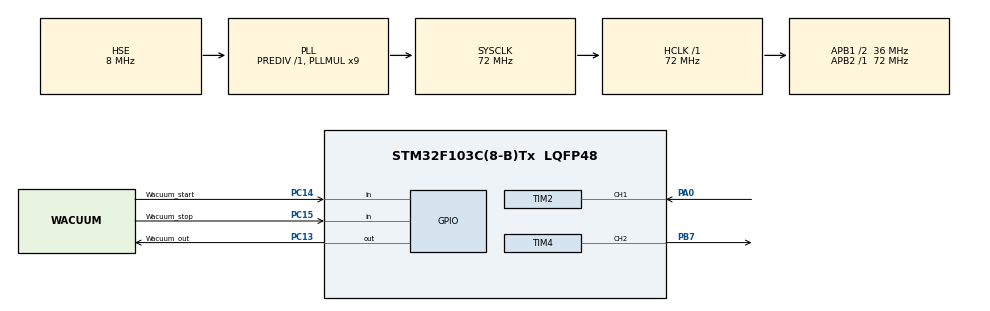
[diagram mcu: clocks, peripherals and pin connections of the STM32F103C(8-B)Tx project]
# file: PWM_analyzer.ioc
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Mcu.Family=STM32F1
Mcu.Name=STM32F103C(8-B)Tx
Mcu.Package=LQFP48
NVIC.PriorityGroup=NVIC_PRIORITYGROUP_4
NVIC.TIM2_IRQn=true\:0\:0\:false\:false\:true\:true\:true
NVIC.TIM4_IRQn=true\:0\:0\:false\:false\:true\:true\:true
PA0-WKUP.Signal=S_TIM2_CH1_ETR
PA13.Mode=Serial_Wire
PA13.Signal=SYS_JTMS-SWDIO
PA14.Mode=Serial_Wire
PA14.Signal=SYS_JTCK-SWCLK
PB7.Signal=S_TIM4_CH2
PC13-TAMPER-RTC.GPIO_Label=Wacuum_out
PC13-TAMPER-RTC.Signal=GPIO_Output
PC14-OSC32_IN.GPIO_Label=Wacuum_start
PC14-OSC32_IN.GPIO_PuPd=GPIO_PULLUP
PC14-OSC32_IN.Signal=GPIO_Input
PC15-OSC32_OUT.GPIO_Label=Wacuum_stop
PC15-OSC32_OUT.GPIO_PuPd=GPIO_PULLUP
PC15-OSC32_OUT.Signal=GPIO_Input
PD0-OSC_IN.Mode=HSE-External-Oscillator
PD0-OSC_IN.Signal=RCC_OSC_IN
PD1-OSC_OUT.Mode=HSE-External-Oscillator
PD1-OSC_OUT.Signal=RCC_OSC_OUT
ProjectManager.HeapSize=0x200
ProjectManager.StackSize=0x400
ProjectManager.TargetToolchain=MDK-ARM V5.27
RCC.AHBFreq_Value=72000000
RCC.APB1CLKDivider=RCC_HCLK_DIV2
RCC.APB1Freq_Value=36000000
RCC.APB1TimFreq_Value=72000000
RCC.APB2Freq_Value=72000000
RCC.APB2TimFreq_Value=72000000
RCC.HCLKFreq_Value=72000000
RCC.PLLMUL=RCC_PLL_MUL9
RCC.PLLSourceVirtual=RCC_PLLSOURCE_HSE
RCC.SYSCLKFreq_VALUE=72000000
RCC.SYSCLKSource=RCC_SYSCLKSOURCE_PLLCLK
RCC.USBFreq_Value=72000000
SH.S_TIM2_CH1_ETR.0=TIM2_CH1,Input_Capture1_from_TI1
SH.S_TIM2_CH1_ETR.1=TIM2_CH1,Input_Capture2_from_TI1
SH.S_TIM4_CH2.0=TIM4_CH2,PWM Generation2 CH2
TIM2.Channel-Input_Capture1_from_TI1=TIM_CHANNEL_1
TIM2.Channel-Input_Capture2_from_TI1=TIM_CHANNEL_2
TIM2.ICPolarity_CH2=TIM_INPUTCHANNELPOLARITY_FALLING
TIM2.Period=50000
TIM2.Prescaler=0
TIM4.Channel-PWM\ Generation2\ CH2=TIM_CHANNEL_2
TIM4.Period=24000
TIM4.Prescaler=58
VP_TIM4_VS_ClockSourceINT.Mode=Internal
board=custom

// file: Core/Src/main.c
/* USER CODE BEGIN Header */
/**
  ******************************************************************************
  * @file           : main.c
  * @brief          : Main program body
  ******************************************************************************
  * @attention
  *
  * <h2><center>&copy; Copyright (c) 2021 STMicroelectronics.
  * All rights reserved.</center></h2>
  *
  * This software component is licensed by ST under BSD 3-Clause license,
  * the "License"; You may not use this file except in compliance with the
  * License. You may obtain a copy of the License at:
  *                        opensource.org/licenses/BSD-3-Clause
  *
  ******************************************************************************
  */
/* USER CODE END Header */
#include "main.h"

TIM_HandleTypeDef htim2;
TIM_HandleTypeDef htim4;

/* USER CODE BEGIN PV */
//Wacuum_start_Pin|Wacuum_stop_Pin;
#define WAC_START   !HAL_GPIO_ReadPin(GPIOC, Wacuum_start_Pin)
#define WAC_STOP    !HAL_GPIO_ReadPin(GPIOC, Wacuum_stop_Pin)
#define WAC_OUT_ON   HAL_GPIO_WritePin(GPIOC, Wacuum_out_Pin, 0)
#define WAC_OUT_OFF  HAL_GPIO_WritePin(GPIOC, Wacuum_out_Pin, 1)
/* USER CODE END PV */

void SystemClock_Config(void);
static void MX_GPIO_Init(void);
static void MX_TIM2_Init(void);
static void MX_TIM4_Init(void);

/* USER CODE BEGIN 0 */
uint32_t period;
uint32_t inv_pulseWidth;
uint32_t pulseWidth;
uint32_t i,d;
uint32_t pwm;
uint32_t sys_count;
uint32_t sys_count_pred;
uint64_t pwm_akk = 0;
uint32_t pwm_akk_count = 0;
uint32_t pwm_filtred = 0;

/* USER CODE END 0 */

int main(void)
{

  /* MCU Configuration--------------------------------------------------------*/

  /* Reset of all peripherals, Initializes the Flash interface and the Systick. */
  HAL_Init();

  /* Configure the system clock */
  SystemClock_Config();

  /* Initialize all configured peripherals */
  MX_GPIO_Init();
  MX_TIM2_Init();
  MX_TIM4_Init();
  /* USER CODE BEGIN 2 */

	HAL_TIM_IC_Start_IT(&htim2, TIM_CHANNEL_1);
  HAL_TIM_IC_Start_IT(&htim2, TIM_CHANNEL_2);

	HAL_TIM_PWM_Start(&htim4, TIM_CHANNEL_2);

  /* USER CODE END 2 */

  /* Infinite loop */
  /* USER CODE BEGIN WHILE */
	TIM4->CCR2=1200; // speed = 0;

	WAC_OUT_OFF;
	HAL_Delay(100);
	WAC_OUT_OFF;
  while (1)
  {
    /* USER CODE END WHILE */

    /* USER CODE BEGIN 3 */
		if (WAC_START) WAC_OUT_ON;
		if (WAC_STOP)  WAC_OUT_OFF;

	}
  /* USER CODE END 3 */
}

void SystemClock_Config(void)
{
  RCC_OscInitTypeDef RCC_OscInitStruct = {0};
  RCC_ClkInitTypeDef RCC_ClkInitStruct = {0};

  /** Initializes the RCC Oscillators according to the specified parameters
  * in the RCC_OscInitTypeDef structure.
  */
  RCC_OscInitStruct.OscillatorType = RCC_OSCILLATORTYPE_HSE;
  RCC_OscInitStruct.HSEState = RCC_HSE_ON;
  RCC_OscInitStruct.HSEPredivValue = RCC_HSE_PREDIV_DIV1;
  RCC_OscInitStruct.HSIState = RCC_HSI_ON;
  RCC_OscInitStruct.PLL.PLLState = RCC_PLL_ON;
  RCC_OscInitStruct.PLL.PLLSource = RCC_PLLSOURCE_HSE;
  RCC_OscInitStruct.PLL.PLLMUL = RCC_PLL_MUL9;
  if (HAL_RCC_OscConfig(&RCC_OscInitStruct) != HAL_OK)
  {
    Error_Handler();
  }
  /** Initializes the CPU, AHB and APB buses clocks
  */
  RCC_ClkInitStruct.ClockType = RCC_CLOCKTYPE_HCLK|RCC_CLOCKTYPE_SYSCLK
                              |RCC_CLOCKTYPE_PCLK1|RCC_CLOCKTYPE_PCLK2;
  RCC_ClkInitStruct.SYSCLKSource = RCC_SYSCLKSOURCE_PLLCLK;
  RCC_ClkInitStruct.AHBCLKDivider = RCC_SYSCLK_DIV1;
  RCC_ClkInitStruct.APB1CLKDivider = RCC_HCLK_DIV2;
  RCC_ClkInitStruct.APB2CLKDivider = RCC_HCLK_DIV1;

  if (HAL_RCC_ClockConfig(&RCC_ClkInitStruct, FLASH_LATENCY_2) != HAL_OK)
  {
    Error_Handler();
  }
}

static void MX_TIM2_Init(void)
{

  TIM_MasterConfigTypeDef sMasterConfig = {0};
  TIM_IC_InitTypeDef sConfigIC = {0};

  htim2.Instance = TIM2;
  htim2.Init.Prescaler = 0;
  htim2.Init.CounterMode = TIM_COUNTERMODE_UP;
  htim2.Init.Period = 50000;
  htim2.Init.ClockDivision = TIM_CLOCKDIVISION_DIV1;
  htim2.Init.AutoReloadPreload = TIM_AUTORELOAD_PRELOAD_DISABLE;
  if (HAL_TIM_IC_Init(&htim2) != HAL_OK)
  {
    Error_Handler();
  }
  sMasterConfig.MasterOutputTrigger = TIM_TRGO_RESET;
  sMasterConfig.MasterSlaveMode = TIM_MASTERSLAVEMODE_DISABLE;
  if (HAL_TIMEx_MasterConfigSynchronization(&htim2, &sMasterConfig) != HAL_OK)
  {
    Error_Handler();
  }
  sConfigIC.ICPolarity = TIM_INPUTCHANNELPOLARITY_RISING;
  sConfigIC.ICSelection = TIM_ICSELECTION_DIRECTTI;
  sConfigIC.ICPrescaler = TIM_ICPSC_DIV1;
  sConfigIC.ICFilter = 0;
  if (HAL_TIM_IC_ConfigChannel(&htim2, &sConfigIC, TIM_CHANNEL_1) != HAL_OK)
  {
    Error_Handler();
  }
  sConfigIC.ICPolarity = TIM_INPUTCHANNELPOLARITY_FALLING;
  sConfigIC.ICSelection = TIM_ICSELECTION_INDIRECTTI;
  if (HAL_TIM_IC_ConfigChannel(&htim2, &sConfigIC, TIM_CHANNEL_2) != HAL_OK)
  {
    Error_Handler();
  }

}

static void MX_TIM4_Init(void)
{

  TIM_ClockConfigTypeDef sClockSourceConfig = {0};
  TIM_MasterConfigTypeDef sMasterConfig = {0};
  TIM_OC_InitTypeDef sConfigOC = {0};

  htim4.Instance = TIM4;
  htim4.Init.Prescaler = 58;
  htim4.Init.CounterMode = TIM_COUNTERMODE_UP;
  htim4.Init.Period = 24000;
  htim4.Init.ClockDivision = TIM_CLOCKDIVISION_DIV1;
  htim4.Init.AutoReloadPreload = TIM_AUTORELOAD_PRELOAD_DISABLE;
  if (HAL_TIM_Base_Init(&htim4) != HAL_OK)
  {
    Error_Handler();
  }
  sClockSourceConfig.ClockSource = TIM_CLOCKSOURCE_INTERNAL;
  if (HAL_TIM_ConfigClockSource(&htim4, &sClockSourceConfig) != HAL_OK)
  {
    Error_Handler();
  }
  if (HAL_TIM_PWM_Init(&htim4) != HAL_OK)
  {
    Error_Handler();
  }
  sMasterConfig.MasterOutputTrigger = TIM_TRGO_RESET;
  sMasterConfig.MasterSlaveMode = TIM_MASTERSLAVEMODE_DISABLE;
  if (HAL_TIMEx_MasterConfigSynchronization(&htim4, &sMasterConfig) != HAL_OK)
  {
    Error_Handler();
  }
  sConfigOC.OCMode = TIM_OCMODE_PWM1;
  sConfigOC.Pulse = 0;
  sConfigOC.OCPolarity = TIM_OCPOLARITY_HIGH;
  sConfigOC.OCFastMode = TIM_OCFAST_DISABLE;
  if (HAL_TIM_PWM_ConfigChannel(&htim4, &sConfigOC, TIM_CHANNEL_2) != HAL_OK)
  {
    Error_Handler();
  }
  HAL_TIM_MspPostInit(&htim4);

}

static void MX_GPIO_Init(void)
{
  GPIO_InitTypeDef GPIO_InitStruct = {0};

  /* GPIO Ports Clock Enable */
  __HAL_RCC_GPIOC_CLK_ENABLE();
  __HAL_RCC_GPIOD_CLK_ENABLE();
  __HAL_RCC_GPIOA_CLK_ENABLE();
  __HAL_RCC_GPIOB_CLK_ENABLE();

  /*Configure GPIO pin Output Level */
  HAL_GPIO_WritePin(Wacuum_out_GPIO_Port, Wacuum_out_Pin, GPIO_PIN_RESET);

  /*Configure GPIO pin : Wacuum_out_Pin */
  GPIO_InitStruct.Pin = Wacuum_out_Pin;
  GPIO_InitStruct.Mode = GPIO_MODE_OUTPUT_PP;
  GPIO_InitStruct.Pull = GPIO_NOPULL;
  GPIO_InitStruct.Speed = GPIO_SPEED_FREQ_LOW;
  HAL_GPIO_Init(Wacuum_out_GPIO_Port, &GPIO_InitStruct);

  /*Configure GPIO pins : Wacuum_start_Pin Wacuum_stop_Pin */
  GPIO_InitStruct.Pin = Wacuum_start_Pin|Wacuum_stop_Pin;
  GPIO_InitStruct.Mode = GPIO_MODE_INPUT;
  GPIO_InitStruct.Pull = GPIO_PULLUP;
  HAL_GPIO_Init(GPIOC, &GPIO_InitStruct);

}

/* USER CODE BEGIN 4 */
void HAL_TIM_IC_CaptureCallback(TIM_HandleTypeDef *htim)
{
    if (htim->Instance == TIM2)
    {
        if(htim->Channel == HAL_TIM_ACTIVE_CHANNEL_1)
        {
            TIM2->CNT = 0;

            period = HAL_TIM_ReadCapturedValue(&htim2, TIM_CHANNEL_1);
            pulseWidth = HAL_TIM_ReadCapturedValue(&htim2, TIM_CHANNEL_2);
					  //if (( period < 6000) && (period > 8000)) pwm = 1200;
						if (( period < 5000) && (period > 8000)) pwm = 1200;
						else {
							if ((pulseWidth > 50) && (pulseWidth < period - 50)) pwm = 2400 - pulseWidth * 0.22;
							else {
								if (pulseWidth <= 50) pwm = 2400;
								if ((pulseWidth >= period - 50) && (pulseWidth <  period)) pwm = 1200;
								if (pulseWidth >= period) pwm = 2400;
								}
							}
							//TIM4->CCR2=pwm;
							pwm_akk = pwm_akk + pwm;
							pwm_akk_count ++;
        }
    }
		sys_count ++;
}

/* USER CODE END 4 */

void Error_Handler(void)
{
}

/************************ (C) COPYRIGHT STMicroelectronics *****END OF FILE****/
